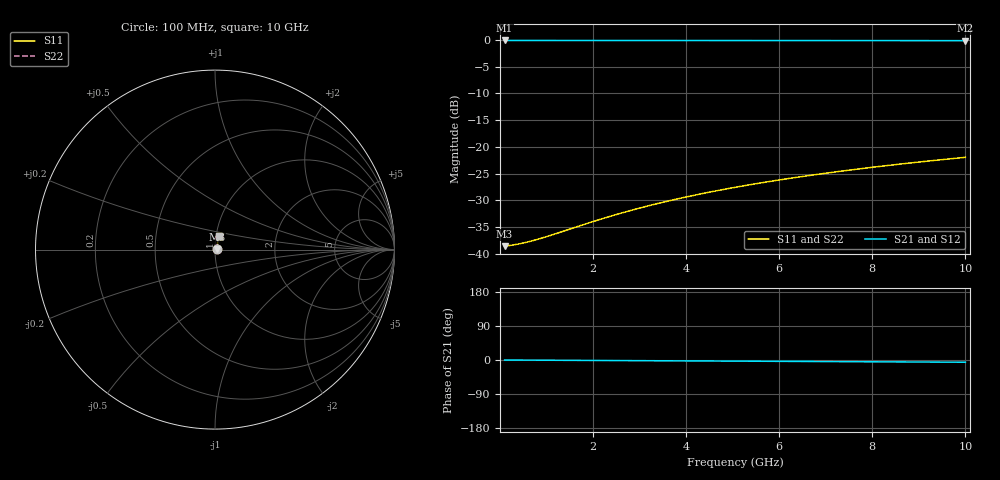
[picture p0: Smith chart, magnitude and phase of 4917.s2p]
# Hz S RI R 50.00
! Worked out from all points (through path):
!   100 points, 100 MHz to 10 GHz, reference 50 ohm
!   highest |S21| = -0.10 dB at 100 MHz (marker M1); lowest = -0.1 dB at 10 GHz (marker M2)
!   lowest |S11| = -38.5 dB at 100 MHz (marker M3), VSWR 1.02, Z = 51.2 + j0.08 ohm
!   |S11| at or under -10 dB: start of sweep to end of sweep
!   |S22| runs from -38.5 to -21.9 dB; largest |S21 - S12| = 0
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1e8  0.0118 0.000781  0.9882 -0.00102  0.9882 -0.00102  0.0118 0.000781
3e8  0.0119 0.00234  0.9881 -0.00305  0.9881 -0.00305  0.0119 0.00234
4e8  0.012 0.00312  0.988 -0.00407  0.988 -0.00407  0.012 0.00312
5e8  0.012 0.0039  0.988 -0.00508  0.988 -0.00508  0.012 0.0039
7e8  0.0121 0.00546  0.9879 -0.00712  0.9879 -0.00712  0.0121 0.00546
9e8  0.0122 0.00702  0.9878 -0.00915  0.9878 -0.00915  0.0122 0.00702
1.1e9  0.0123 0.00858  0.9877 -0.0112  0.9877 -0.0112  0.0123 0.00858
1.8e9  0.0126 0.014  0.9874 -0.0183  0.9874 -0.0183  0.0126 0.014
2.2e9  0.0127 0.0172  0.9872 -0.0224  0.9872 -0.0224  0.0127 0.0172
2.6e9  0.0129 0.0203  0.987 -0.0264  0.987 -0.0264  0.0129 0.0203
3e9  0.0132 0.0234  0.9868 -0.0305  0.9868 -0.0305  0.0132 0.0234
3.4e9  0.0134 0.0265  0.9865 -0.0345  0.9865 -0.0345  0.0134 0.0265
3.8e9  0.0137 0.0296  0.9863 -0.0386  0.9863 -0.0386  0.0137 0.0296
4.2e9  0.014 0.0327  0.986 -0.0426  0.986 -0.0426  0.014 0.0327
4.6e9  0.0143 0.0358  0.9856 -0.0467  0.9856 -0.0467  0.0143 0.0358
5.1e9  0.0147 0.0397  0.9852 -0.0517  0.9852 -0.0517  0.0147 0.0397
5.9e9  0.0155 0.0458  0.9844 -0.0598  0.9844 -0.0598  0.0155 0.0458
6.7e9  0.0163 0.052  0.9835 -0.0679  0.9835 -0.0679  0.0163 0.052
7.5e9  0.0173 0.0582  0.9825 -0.0759  0.9825 -0.0759  0.0173 0.0582
8.4e9  0.0185 0.065  0.9813 -0.0849  0.9813 -0.0849  0.0185 0.065
9.2e9  0.0196 0.0711  0.9801 -0.0929  0.9801 -0.0929  0.0196 0.0711
1e10  0.0209 0.0772  0.9788 -0.1009  0.9788 -0.1009  0.0209 0.0772
